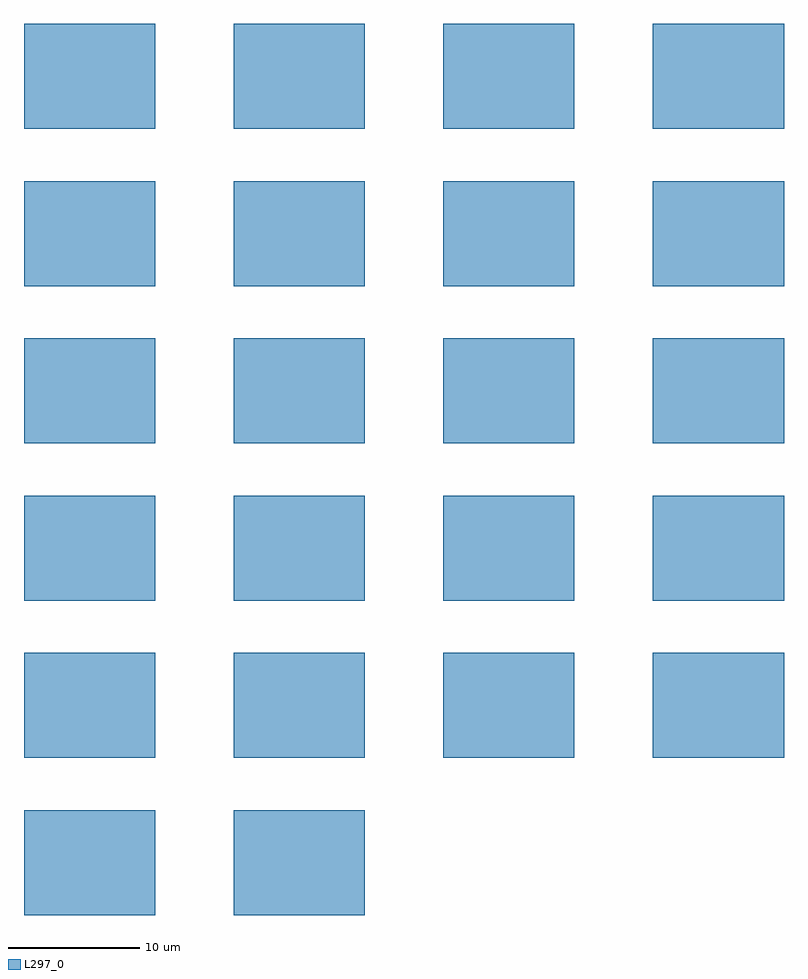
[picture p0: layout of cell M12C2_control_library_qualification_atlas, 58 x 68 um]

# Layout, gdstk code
import gdstk
lib = gdstk.Library(unit=1e-6, precision=1e-09)
def R(c, l, rs):  # rectangles x0, y0, x1, y1
    for r in rs: c.add(gdstk.rectangle(r[:2], r[2:], *l))
def A(c, l, x, y, w, h, nx, ny, dx, dy):  # array of equal rectangles
    R(c, l, [(x+i*dx, y+j*dy, x+i*dx+w, y+j*dy+h) for i in range(nx) for j in range(ny)])
L297_0 = (297, 0)

m12c2_control_library_qu = lib.new_cell('M12C2_control_library_qualification_atlas')
A(m12c2_control_library_qu, L297_0, 0, -48, 10, 8, 4, 5, 16, 12)
R(m12c2_control_library_qu, L297_0, [(0,-60,10,-52), (16,-60,26,-52)])

lib.write_gds('M12C2_control_library_qualification_atlas.gds')
